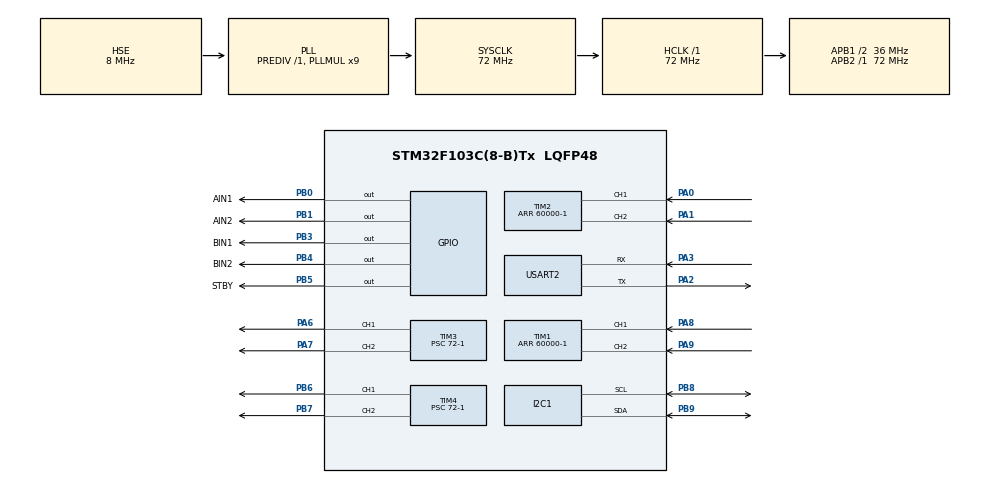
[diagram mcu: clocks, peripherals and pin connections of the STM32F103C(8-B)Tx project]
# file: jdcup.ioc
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Mcu.Family=STM32F1
Mcu.Name=STM32F103C(8-B)Tx
Mcu.Package=LQFP48
NVIC.PriorityGroup=NVIC_PRIORITYGROUP_4
NVIC.USART2_IRQn=true\:0\:0\:false\:false\:true\:true\:true
PA0-WKUP.Signal=S_TIM2_CH1_ETR
PA1.Signal=S_TIM2_CH2
PA13.Mode=Serial_Wire
PA13.Signal=SYS_JTMS-SWDIO
PA14.Mode=Serial_Wire
PA14.Signal=SYS_JTCK-SWCLK
PA2.Mode=Asynchronous
PA2.Signal=USART2_TX
PA3.Mode=Asynchronous
PA3.Signal=USART2_RX
PA6.Signal=S_TIM3_CH1
PA7.Signal=S_TIM3_CH2
PA8.Signal=S_TIM1_CH1
PA9.Signal=S_TIM1_CH2
PB0.GPIO_Label=AIN1
PB0.Signal=GPIO_Output
PB1.GPIO_Label=AIN2
PB1.Signal=GPIO_Output
PB3.GPIO_Label=BIN1
PB3.Signal=GPIO_Output
PB4.GPIO_Label=BIN2
PB4.Signal=GPIO_Output
PB5.GPIO_Label=STBY
PB5.Signal=GPIO_Output
PB6.Signal=S_TIM4_CH1
PB7.Signal=S_TIM4_CH2
PB8.Mode=I2C
PB8.Signal=I2C1_SCL
PB9.Mode=I2C
PB9.Signal=I2C1_SDA
PD0-OSC_IN.Mode=HSE-External-Oscillator
PD0-OSC_IN.Signal=RCC_OSC_IN
PD1-OSC_OUT.Mode=HSE-External-Oscillator
PD1-OSC_OUT.Signal=RCC_OSC_OUT
ProjectManager.HeapSize=0x200
ProjectManager.StackSize=0x400
ProjectManager.TargetToolchain=MDK-ARM V5
RCC.AHBFreq_Value=72000000
RCC.APB1CLKDivider=RCC_HCLK_DIV2
RCC.APB1Freq_Value=36000000
RCC.APB1TimFreq_Value=72000000
RCC.APB2Freq_Value=72000000
RCC.APB2TimFreq_Value=72000000
RCC.HCLKFreq_Value=72000000
RCC.PLLMUL=RCC_PLL_MUL9
RCC.PLLSourceVirtual=RCC_PLLSOURCE_HSE
RCC.SYSCLKFreq_VALUE=72000000
RCC.SYSCLKSource=RCC_SYSCLKSOURCE_PLLCLK
RCC.USBFreq_Value=72000000
SH.S_TIM1_CH1.0=TIM1_CH1,Encoder_Interface
SH.S_TIM1_CH2.0=TIM1_CH2,Encoder_Interface
SH.S_TIM2_CH1_ETR.0=TIM2_CH1,Encoder_Interface
SH.S_TIM2_CH2.0=TIM2_CH2,Encoder_Interface
SH.S_TIM3_CH1.0=TIM3_CH1,PWM Generation1 CH1
SH.S_TIM3_CH2.0=TIM3_CH2,PWM Generation2 CH2
SH.S_TIM4_CH1.0=TIM4_CH1,PWM Generation1 CH1
SH.S_TIM4_CH2.0=TIM4_CH2,PWM Generation2 CH2
TIM1.CounterMode=TIM_COUNTERMODE_DOWN
TIM1.EncoderMode=TIM_ENCODERMODE_TI12
TIM1.IC1Filter=6
TIM1.IC2Filter=6
TIM1.Period=60000-1
TIM2.EncoderMode=TIM_ENCODERMODE_TI12
TIM2.Period=60000-1
TIM3.Channel-PWM\ Generation1\ CH1=TIM_CHANNEL_1
TIM3.Channel-PWM\ Generation2\ CH2=TIM_CHANNEL_2
TIM3.Period=1000-1
TIM3.Prescaler=72-1
TIM4.Channel-PWM\ Generation1\ CH1=TIM_CHANNEL_1
TIM4.Channel-PWM\ Generation2\ CH2=TIM_CHANNEL_2
TIM4.Period=20000-1
TIM4.Prescaler=72-1
USART2.VirtualMode=VM_ASYNC
VP_TIM3_VS_ClockSourceINT.Mode=Internal
VP_TIM4_VS_ClockSourceINT.Mode=Internal
board=custom

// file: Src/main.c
/* USER CODE BEGIN Header */
/**
  ******************************************************************************
  * @file           : main.c
  * @brief          : Main program body
  ******************************************************************************
  * @attention
  *
  * <h2><center>&copy; Copyright (c) 2019 STMicroelectronics.
  * All rights reserved.</center></h2>
  *
  * This software component is licensed by ST under BSD 3-Clause license,
  * the "License"; You may not use this file except in compliance with the
  * License. You may obtain a copy of the License at:
  *                        opensource.org/licenses/BSD-3-Clause
  *
  ******************************************************************************
  */
/* USER CODE END Header */

#include "main.h"
#include "i2c.h"
#include "tim.h"
#include "usart.h"
#include "gpio.h"

/* USER CODE BEGIN Includes */
#include "oled.h"
#include "control.h"
/* USER CODE END Includes */

/* USER CODE BEGIN PM */
void Logic(void);
/* USER CODE END PM */

/* USER CODE BEGIN PV */
uint8_t ch;
int P1Flag=0;
int P2Flag=0;
int P3Flag=0;
int P4Flag=0;
int WatchFlag=0;
/* USER CODE END PV */

void SystemClock_Config(void);

int main(void)
{

  /* MCU Configuration--------------------------------------------------------*/

  /* Reset of all peripherals, Initializes the Flash interface and the Systick. */
  HAL_Init();

  /* Configure the system clock */
  SystemClock_Config();

  /* Initialize all configured peripherals */
  MX_GPIO_Init();
  MX_I2C1_Init();
  MX_TIM1_Init();
  MX_TIM2_Init();
  MX_TIM3_Init();
  MX_TIM4_Init();
  MX_USART2_UART_Init();
  /* USER CODE BEGIN 2 */
	PWM_Init();
	Encoder_Init();
	HAL_UART_Receive_IT(&huart2,(uint8_t*)&ch,1);
  /* USER CODE END 2 */

  /* Infinite loop */
  /* USER CODE BEGIN WHILE */
	Look(2);
	OutDoor();
	if(P1Flag==1)
	{
		ParkCenter();
		Park1();
		HAL_GPIO_WritePin(GPIOA,GPIO_PIN_4,GPIO_PIN_SET);
		HAL_Delay(5000);
		HAL_GPIO_WritePin(GPIOA,GPIO_PIN_4,GPIO_PIN_RESET) ;
		Back1();
	}
	else
	{
		ParkCenter();
		Look(0);
		HAL_Delay(2000);
	}

	if(P2Flag==1)
	{
		Park2();
		HAL_GPIO_WritePin(GPIOA,GPIO_PIN_4,GPIO_PIN_SET);
		HAL_Delay(5000);
		HAL_GPIO_WritePin(GPIOA,GPIO_PIN_4,GPIO_PIN_RESET) ;
		Back2();
	}
	HAL_Delay(200);
	if(!WatchFlag)
	{
		Park3();
		HAL_GPIO_WritePin(GPIOA,GPIO_PIN_4,GPIO_PIN_SET);
		HAL_Delay(5000);
		HAL_GPIO_WritePin(GPIOA,GPIO_PIN_4,GPIO_PIN_RESET) ;
		Back3();
	}
	if(P4Flag==1)
	{
		Park4_1();
		HAL_GPIO_WritePin(GPIOA,GPIO_PIN_4,GPIO_PIN_SET);
		HAL_Delay(5000);
		HAL_GPIO_WritePin(GPIOA,GPIO_PIN_4,GPIO_PIN_RESET) ;
	}
	Look(2);
  while (1)
  {

    /* USER CODE END WHILE */

  }
}

void SystemClock_Config(void)
{
  RCC_OscInitTypeDef RCC_OscInitStruct = {0};
  RCC_ClkInitTypeDef RCC_ClkInitStruct = {0};

  /** Initializes the CPU, AHB and APB busses clocks
  */
  RCC_OscInitStruct.OscillatorType = RCC_OSCILLATORTYPE_HSE;
  RCC_OscInitStruct.HSEState = RCC_HSE_ON;
  RCC_OscInitStruct.HSEPredivValue = RCC_HSE_PREDIV_DIV1;
  RCC_OscInitStruct.HSIState = RCC_HSI_ON;
  RCC_OscInitStruct.PLL.PLLState = RCC_PLL_ON;
  RCC_OscInitStruct.PLL.PLLSource = RCC_PLLSOURCE_HSE;
  RCC_OscInitStruct.PLL.PLLMUL = RCC_PLL_MUL9;
  if (HAL_RCC_OscConfig(&RCC_OscInitStruct) != HAL_OK)
  {
    Error_Handler();
  }
  /** Initializes the CPU, AHB and APB busses clocks
  */
  RCC_ClkInitStruct.ClockType = RCC_CLOCKTYPE_HCLK|RCC_CLOCKTYPE_SYSCLK
                              |RCC_CLOCKTYPE_PCLK1|RCC_CLOCKTYPE_PCLK2;
  RCC_ClkInitStruct.SYSCLKSource = RCC_SYSCLKSOURCE_PLLCLK;
  RCC_ClkInitStruct.AHBCLKDivider = RCC_SYSCLK_DIV1;
  RCC_ClkInitStruct.APB1CLKDivider = RCC_HCLK_DIV2;
  RCC_ClkInitStruct.APB2CLKDivider = RCC_HCLK_DIV1;

  if (HAL_RCC_ClockConfig(&RCC_ClkInitStruct, FLASH_LATENCY_2) != HAL_OK)
  {
    Error_Handler();
  }
}

/* USER CODE BEGIN 4 */

void HAL_UART_RxCpltCallback(UART_HandleTypeDef* huart)
{
		if(ch=='1')
		{
			P1Flag=1;
			P2Flag=0;
			P3Flag=0;
			P4Flag=0;
			WatchFlag=1;
		}
		if(ch=='2')
		{
			P1Flag=0;
			P2Flag=1;
			P3Flag=0;
			P4Flag=0;
			WatchFlag=1;
		}
		if(ch=='3')
		{
			P1Flag=0;
			P2Flag=0;
			P3Flag=1;
			P4Flag=0;
			WatchFlag=1;
		}
		if(ch=='4')
		{
			P1Flag=0;
			P2Flag=0;
			P3Flag=0;
			P4Flag=1;
			WatchFlag=1;
		}
		HAL_UART_Receive_IT(&huart2,(uint8_t*)&ch,1);
}
/* USER CODE END 4 */

void Error_Handler(void)
{
}

/************************ (C) COPYRIGHT STMicroelectronics *****END OF FILE****/
